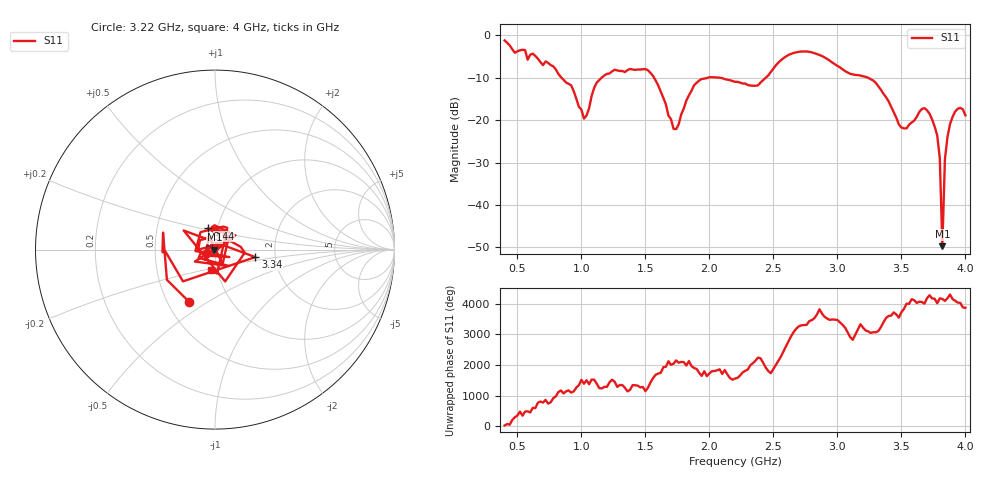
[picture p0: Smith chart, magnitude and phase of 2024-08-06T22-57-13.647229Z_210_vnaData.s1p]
!Created with skrf (http://scikit-rf.org).
# Hz S RI R 50.0
!freq ReS11 ImS11
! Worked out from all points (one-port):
!   181 points, 400 MHz to 4 GHz, reference 50 ohm
!   lowest |S11| = -49.7 dB at 3.82 GHz (marker M1), VSWR 1.01, Z = 49.7 - j0.0546 ohm
!   |S11| at or under -10 dB: 1.568 GHz to 1.987 GHz (419.7 MHz wide, 23.6 % of centre); 2.082 GHz to 2.44 GHz (357.4 MHz wide, 15.8 % of centre); 3.24 GHz to end of sweep (the widest 3 of 4)
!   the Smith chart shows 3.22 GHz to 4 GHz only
!   S11 on the Smith chart (normalised r, x): 3.22 GHz: 0.64, -0.42; 3.34 GHz: 1.57, -0.14; 3.44 GHz: 0.90, +0.22; 4 GHz: 0.93, -0.21
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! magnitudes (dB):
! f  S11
! 400 MHz  -1.2
! 860 MHz  -10.5
! 920 MHz  -11.8
! 1.02 GHz  -19.6
! 1.12 GHz  -11.1
! 1.3 GHz  -8.4
! 1.52 GHz  -8.2
! 1.6 GHz  -11.8
! 1.72 GHz  -22.1
! 1.76 GHz  -21.0
! 1.92 GHz  -10.6
! 2.2 GHz  -11.0
! 2.38 GHz  -11.8
! 2.66 GHz  -4.1
! 3.1 GHz  -9.1
! 3.22 GHz  -9.8
! 3.34 GHz  -12.8
! 3.44 GHz  -18.1
! 3.5 GHz  -21.8
! 3.56 GHz  -21.1
! 3.68 GHz  -17.2
! 3.78 GHz  -23.6
! 3.8 GHz  -28.9
! 3.82 GHz  -49.7
! 3.84 GHz  -29.2
! 3.86 GHz  -24.0
! 3.92 GHz  -18.0
! 4 GHz  -18.9
